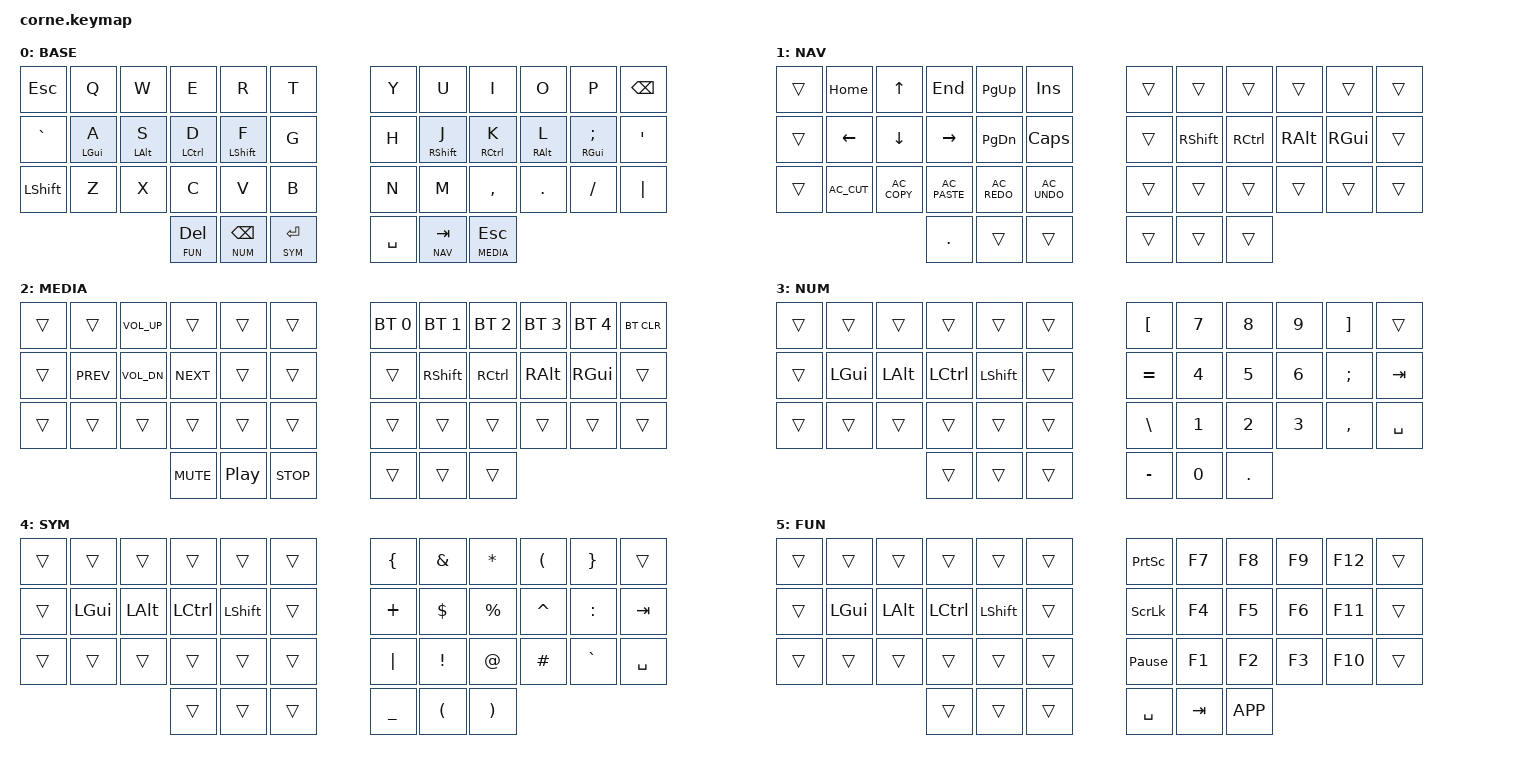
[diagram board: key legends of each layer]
/*
 * Copyright (c) 2020 The ZMK Contributors
 *
 * SPDX-License-Identifier: MIT
 */

#include <behaviors.dtsi>
#include <dt-bindings/zmk/keys.h>
#include <dt-bindings/zmk/bt.h>

#define BASE 0
#define NAV 1
#define MEDIA 2
#define NUM 3
#define SYM 4
#define FUN 5

/ {
        behaviors {
                hm: homerow_mods {
                        compatible = "zmk,behavior-hold-tap";
                        label = "HOMEROW_MODS";
                        #binding-cells = <2>;
                        tapping-term-ms = <300>;
                        quick-tap-ms = <125>;
                        global-quick-tap;
                        retro-tap;
                        flavor = "balanced";
                        bindings = <&kp>, <&kp>;
                };
        };
        keymap {
                compatible = "zmk,keymap";

                BASE {  
                        bindings = <
   &kp ESC  &kp Q &kp W      &kp E        &kp R         &kp T                    &kp Y   &kp U         &kp I       &kp O      &kp P    &kp BSPC
   &kp GRAVE &hm LGUI A &hm LALT S &hm LCTRL D  &hm LSHIFT F  &kp G               &kp H   &hm RSHIFT J  &hm RCTRL K &hm RALT L &hm RGUI SEMI &kp SQT
   &kp LSHFT &kp Z &kp X      &kp C        &kp V         &kp B                    &kp N   &kp M         &kp COMMA   &kp DOT    &kp FSLH &kp PIPE
                              &lt FUN DEL  &lt NUM BSPC  &lt SYM RET              &kp SPACE &lt NAV TAB &lt MEDIA ESC
                        >;
                };

                NAV {
                        bindings = <
   &trans &kp HOME     &kp UP        &kp END        &kp PG_UP     &kp INS               &trans &trans     &trans    &trans   &trans   &trans
   &trans &kp LEFT     &kp DOWN      &kp RIGHT      &kp PG_DN     &kp CAPS              &trans &kp RSHIFT &kp RCTRL &kp RALT &kp RGUI &trans
   &trans &kp C_AC_CUT &kp C_AC_COPY &kp C_AC_PASTE &kp C_AC_REDO &kp C_AC_UNDO         &trans &trans     &trans    &trans   &trans   &trans
                                     &kp DOT        &trans        &trans                &trans &trans     &trans
                        >;
                };

                MEDIA {
                        bindings = <
   &trans &trans     &kp C_VOL_UP  &trans     &trans           &trans             &bt BT_SEL 0 &bt BT_SEL 1 &bt BT_SEL 2 &bt BT_SEL 3 &bt BT_SEL 4   &bt BT_CLR
   &trans &kp C_PREV &kp C_VOL_DN  &kp C_NEXT &trans           &trans             &trans &kp RSHIFT &kp RCTRL &kp RALT &kp RGUI &trans
   &trans &trans     &trans        &trans     &trans           &trans             &trans &trans     &trans    &trans   &trans   &trans
                                   &kp C_MUTE &kp C_PLAY_PAUSE &kp C_STOP         &trans &trans     &trans
                        >;
                };

                NUM {
                        bindings = <
   &trans &trans   &trans   &trans    &trans     &trans              &kp LBKT  &kp N7 &kp N8  &kp N9 &kp RBKT &trans
   &trans &kp LGUI &kp LALT &kp LCTRL &kp LSHIFT &trans              &kp EQUAL &kp N4 &kp N5  &kp N6 &kp SEMI &kp TAB
   &trans &trans   &trans   &trans    &trans     &trans              &kp BSLH  &kp N1 &kp N2  &kp N3 &kp COMMA &kp SPACE
                            &trans    &trans     &trans              &kp MINUS &kp N0 &kp DOT
                        >;
                };

                SYM {
                        bindings = <
   &trans &trans   &trans   &trans    &trans     &trans              &kp LBRC  &kp AMPS   &kp STAR    &kp LPAR  &kp RBRC  &trans
   &trans &kp LGUI &kp LALT &kp LCTRL &kp LSHIFT &trans              &kp PLUS  &kp DOLLAR &kp PERCENT &kp CARET &kp COLON &kp TAB
   &trans &trans   &trans   &trans    &trans     &trans              &kp PIPE  &kp EXCL   &kp AT      &kp HASH  &kp GRAVE &kp SPACE
                            &trans    &trans     &trans              &kp UNDER &kp LPAR   &kp RPAR
                        >;
                };

                FUN {
                        bindings = <
   &trans &trans   &trans   &trans    &trans     &trans              &kp PSCRN       &kp F7 &kp F8   &kp F9   &kp F12 &trans
   &trans &kp LGUI &kp LALT &kp LCTRL &kp LSHIFT &trans              &kp SLCK        &kp F4 &kp F5   &kp F6   &kp F11 &trans
   &trans &trans   &trans   &trans    &trans     &trans              &kp PAUSE_BREAK &kp F1 &kp F2   &kp F3   &kp F10 &trans
                            &trans    &trans     &trans              &kp SPACE       &kp TAB &kp K_APP
                        >;
                };
        };
};
